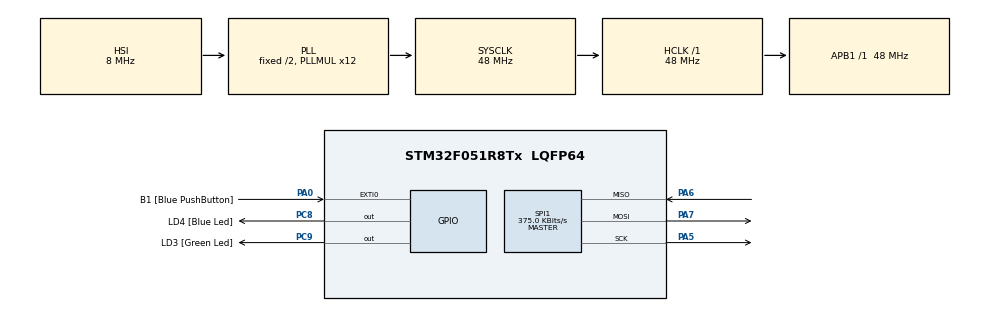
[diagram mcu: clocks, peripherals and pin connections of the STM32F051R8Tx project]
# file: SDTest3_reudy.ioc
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Mcu.Family=STM32F0
Mcu.Name=STM32F051R8Tx
Mcu.Package=LQFP64
PA0.GPIO_Label=B1 [Blue PushButton]
PA0.GPIO_ModeDefaultEXTI=GPIO_MODE_EVT_RISING
PA0.Signal=GPXTI0
PA13.GPIO_Label=SWDIO
PA13.Mode=Serial_Wire
PA13.Signal=SYS_SWDIO
PA14.GPIO_Label=SWCLK
PA14.Mode=Serial_Wire
PA14.Signal=SYS_SWCLK
PA5.Mode=Full_Duplex_Master
PA5.Signal=SPI1_SCK
PA6.Mode=Full_Duplex_Master
PA6.Signal=SPI1_MISO
PA7.Mode=Full_Duplex_Master
PA7.Signal=SPI1_MOSI
PC8.GPIO_Label=LD4 [Blue Led]
PC8.Signal=GPIO_Output
PC9.GPIO_Label=LD3 [Green Led]
PC9.Signal=GPIO_Output
ProjectManager.HeapSize=0x200
ProjectManager.StackSize=0x400
ProjectManager.TargetToolchain=SW4STM32
RCC.AHBFreq_Value=48000000
RCC.APB1Freq_Value=48000000
RCC.APB1TimFreq_Value=48000000
RCC.HCLKFreq_Value=48000000
RCC.PLLMUL=RCC_PLL_MUL12
RCC.SYSCLKFreq_VALUE=48000000
RCC.SYSCLKSource=RCC_SYSCLKSOURCE_PLLCLK
SPI1.BaudRatePrescaler=SPI_BAUDRATEPRESCALER_128
SPI1.CalculateBaudRate=375.0 KBits/s
SPI1.DataSize=SPI_DATASIZE_8BIT
SPI1.Direction=SPI_DIRECTION_2LINES
SPI1.Mode=SPI_MODE_MASTER
SPI1.VirtualType=VM_MASTER
board=STM32F0DISCOVERY

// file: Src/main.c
/**
  ******************************************************************************
  * @file           : main.c
  * @brief          : Main program body
  ******************************************************************************
  ** This notice applies to any and all portions of this file
  * that are not between comment pairs USER CODE BEGIN and
  * USER CODE END. Other portions of this file, whether
  * inserted by the user or by software development tools
  * are owned by their respective copyright owners.
  *
  * COPYRIGHT(c) 2018 STMicroelectronics
  *
  * Redistribution and use in source and binary forms, with or without modification,
  * are permitted provided that the following conditions are met:
  *   1. Redistributions of source code must retain the above copyright notice,
  *      this list of conditions and the following disclaimer.
  *   2. Redistributions in binary form must reproduce the above copyright notice,
  *      this list of conditions and the following disclaimer in the documentation
  *      and/or other materials provided with the distribution.
  *   3. Neither the name of STMicroelectronics nor the names of its contributors
  *      may be used to endorse or promote products derived from this software
  *      without specific prior written permission.
  *
  * THIS SOFTWARE IS PROVIDED BY THE COPYRIGHT HOLDERS AND CONTRIBUTORS "AS IS"
  * AND ANY EXPRESS OR IMPLIED WARRANTIES, INCLUDING, BUT NOT LIMITED TO, THE
  * IMPLIED WARRANTIES OF MERCHANTABILITY AND FITNESS FOR A PARTICULAR PURPOSE ARE
  * DISCLAIMED. IN NO EVENT SHALL THE COPYRIGHT HOLDER OR CONTRIBUTORS BE LIABLE
  * FOR ANY DIRECT, INDIRECT, INCIDENTAL, SPECIAL, EXEMPLARY, OR CONSEQUENTIAL
  * DAMAGES (INCLUDING, BUT NOT LIMITED TO, PROCUREMENT OF SUBSTITUTE GOODS OR
  * SERVICES; LOSS OF USE, DATA, OR PROFITS; OR BUSINESS INTERRUPTION) HOWEVER
  * CAUSED AND ON ANY THEORY OF LIABILITY, WHETHER IN CONTRACT, STRICT LIABILITY,
  * OR TORT (INCLUDING NEGLIGENCE OR OTHERWISE) ARISING IN ANY WAY OUT OF THE USE
  * OF THIS SOFTWARE, EVEN IF ADVISED OF THE POSSIBILITY OF SUCH DAMAGE.
  *
  ******************************************************************************
  */
#include "main.h"
#include "stm32f0xx_hal.h"
#include "diskio.h"
#include "ff.h"

SPI_HandleTypeDef hspi1;

/* USER CODE BEGIN PV */
/* Private variables ---------------------------------------------------------*/

/* USER CODE END PV */

void SystemClock_Config(void);
static void MX_GPIO_Init(void);
static void MX_SPI1_Init(void);

/* USER CODE BEGIN PFP */
/* Private function prototypes -----------------------------------------------*/

/* USER CODE END PFP */

/* USER CODE BEGIN 0 */
;
/* USER CODE END 0 */

int main(void)
{
  /* USER CODE BEGIN 1 */
  FATFS	FatFs;
  FIL file;
  DSTATUS dr;
  FRESULT fr;
  /* USER CODE END 1 */

  /* MCU Configuration----------------------------------------------------------*/

  /* Reset of all peripherals, Initializes the Flash interface and the Systick. */
  HAL_Init();

  /* Configure the system clock */
  SystemClock_Config();

  /* Initialize all configured peripherals */
  MX_GPIO_Init();
  MX_SPI1_Init();
  /* USER CODE BEGIN 2 */
  char line[100];

  BYTE disk = disk_initialize(0);

  if((disk == STA_NOINIT)){
	HAL_GPIO_WritePin(GPIOC, GPIO_PIN_9, GPIO_PIN_SET);
  }else if(disk == STA_NODISK){
	HAL_GPIO_WritePin(GPIOC, GPIO_PIN_9, GPIO_PIN_SET);
  }else if(disk == STA_PROTECT){
	HAL_GPIO_WritePin(GPIOC, GPIO_PIN_9, GPIO_PIN_SET);
  }

  if(f_mount(&FatFs, "", 0) != FR_OK){
	HAL_GPIO_WritePin(GPIOC, GPIO_PIN_9, GPIO_PIN_SET);
  }

  if(f_open(&file, "data1.txt", FA_READ) != FR_OK){
	  HAL_GPIO_WritePin(GPIOC, GPIO_PIN_9, GPIO_PIN_SET);
  }

  strcpy(line, f_gets(line, 100, &file));

  if( f_gets(line, 100, &file) != NULL ) {
	  HAL_GPIO_WritePin(GPIOC, GPIO_PIN_8, GPIO_PIN_SET);
      printf(line);

   }

  f_close(&file);

  /* USER CODE END 2 */

  /* Infinite loop */
  while (1)
  {

  }

}

void SystemClock_Config(void)
{

  RCC_OscInitTypeDef RCC_OscInitStruct;
  RCC_ClkInitTypeDef RCC_ClkInitStruct;

    /**Initializes the CPU, AHB and APB busses clocks
    */
  RCC_OscInitStruct.OscillatorType = RCC_OSCILLATORTYPE_HSI;
  RCC_OscInitStruct.HSIState = RCC_HSI_ON;
  RCC_OscInitStruct.HSICalibrationValue = 16;
  RCC_OscInitStruct.PLL.PLLState = RCC_PLL_ON;
  RCC_OscInitStruct.PLL.PLLSource = RCC_PLLSOURCE_HSI;
  RCC_OscInitStruct.PLL.PLLMUL = RCC_PLL_MUL12;
  RCC_OscInitStruct.PLL.PREDIV = RCC_PREDIV_DIV1;
  if (HAL_RCC_OscConfig(&RCC_OscInitStruct) != HAL_OK)
  {
    _Error_Handler(__FILE__, __LINE__);
  }

    /**Initializes the CPU, AHB and APB busses clocks
    */
  RCC_ClkInitStruct.ClockType = RCC_CLOCKTYPE_HCLK|RCC_CLOCKTYPE_SYSCLK
                              |RCC_CLOCKTYPE_PCLK1;
  RCC_ClkInitStruct.SYSCLKSource = RCC_SYSCLKSOURCE_PLLCLK;
  RCC_ClkInitStruct.AHBCLKDivider = RCC_SYSCLK_DIV1;
  RCC_ClkInitStruct.APB1CLKDivider = RCC_HCLK_DIV1;

  if (HAL_RCC_ClockConfig(&RCC_ClkInitStruct, FLASH_LATENCY_1) != HAL_OK)
  {
    _Error_Handler(__FILE__, __LINE__);
  }

    /**Configure the Systick interrupt time
    */
  HAL_SYSTICK_Config(HAL_RCC_GetHCLKFreq()/1000);

    /**Configure the Systick
    */
  HAL_SYSTICK_CLKSourceConfig(SYSTICK_CLKSOURCE_HCLK);

  /* SysTick_IRQn interrupt configuration */
  HAL_NVIC_SetPriority(SysTick_IRQn, 0, 0);
}

/* SPI1 init function */
static void MX_SPI1_Init(void)
{

  /* SPI1 parameter configuration*/
  hspi1.Instance = SPI1;
  hspi1.Init.Mode = SPI_MODE_MASTER;
  hspi1.Init.Direction = SPI_DIRECTION_2LINES;
  hspi1.Init.DataSize = SPI_DATASIZE_8BIT;
  hspi1.Init.CLKPolarity = SPI_POLARITY_LOW;
  hspi1.Init.CLKPhase = SPI_PHASE_1EDGE;
  hspi1.Init.NSS = SPI_NSS_SOFT;
  hspi1.Init.BaudRatePrescaler = SPI_BAUDRATEPRESCALER_128;
  hspi1.Init.FirstBit = SPI_FIRSTBIT_MSB;
  hspi1.Init.TIMode = SPI_TIMODE_DISABLE;
  hspi1.Init.CRCCalculation = SPI_CRCCALCULATION_DISABLE;
  hspi1.Init.CRCPolynomial = 7;
  hspi1.Init.CRCLength = SPI_CRC_LENGTH_DATASIZE;
  hspi1.Init.NSSPMode = SPI_NSS_PULSE_ENABLE;
  if (HAL_SPI_Init(&hspi1) != HAL_OK)
  {
    _Error_Handler(__FILE__, __LINE__);
  }

}

/** Configure pins as
        * Analog
        * Input
        * Output
        * EVENT_OUT
        * EXTI
*/
static void MX_GPIO_Init(void)
{

  GPIO_InitTypeDef GPIO_InitStruct;

  /* GPIO Ports Clock Enable */
  __HAL_RCC_GPIOA_CLK_ENABLE();
  __HAL_RCC_GPIOC_CLK_ENABLE();

  /*Configure GPIO pin Output Level */
  HAL_GPIO_WritePin(GPIOC, LD4_Pin|LD3_Pin, GPIO_PIN_RESET);

  /*Configure GPIO pin : B1_Pin */
  GPIO_InitStruct.Pin = B1_Pin;
  GPIO_InitStruct.Mode = GPIO_MODE_EVT_RISING;
  GPIO_InitStruct.Pull = GPIO_NOPULL;
  HAL_GPIO_Init(B1_GPIO_Port, &GPIO_InitStruct);

  /*Configure GPIO pins : LD4_Pin LD3_Pin */
  GPIO_InitStruct.Pin = LD4_Pin|LD3_Pin;
  GPIO_InitStruct.Mode = GPIO_MODE_OUTPUT_PP;
  GPIO_InitStruct.Pull = GPIO_NOPULL;
  GPIO_InitStruct.Speed = GPIO_SPEED_FREQ_LOW;
  HAL_GPIO_Init(GPIOC, &GPIO_InitStruct);

}

void _Error_Handler(char *file, int line)
{
  while(1)
  {
  }
}

/************************ (C) COPYRIGHT STMicroelectronics *****END OF FILE****/
